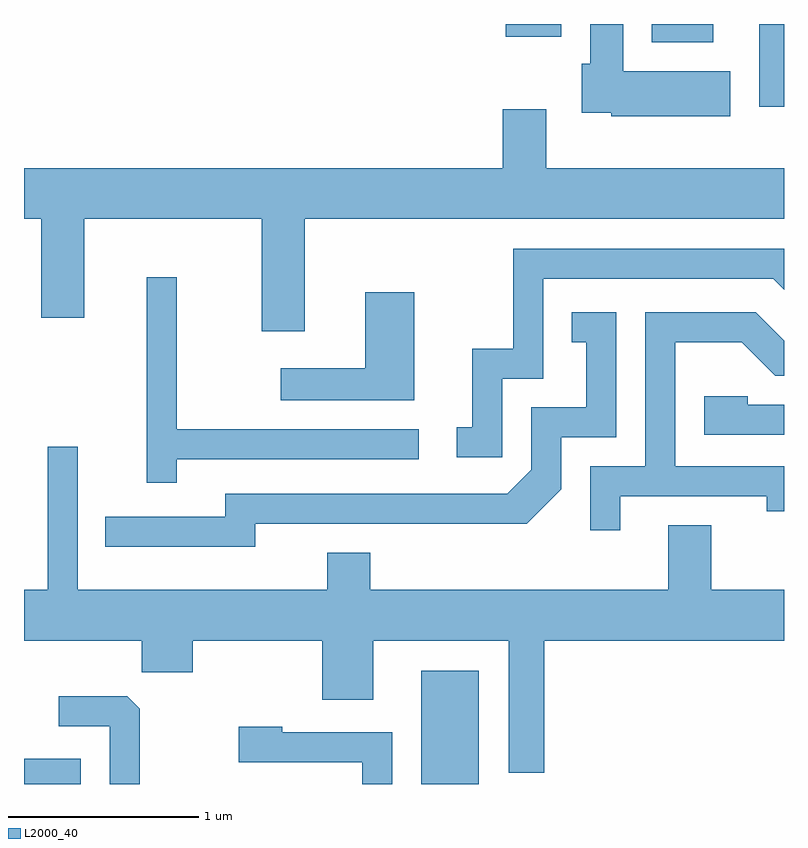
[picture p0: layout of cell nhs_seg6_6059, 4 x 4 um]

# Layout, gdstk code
import gdstk
lib = gdstk.Library(unit=1e-6, precision=1e-09)
def R(c, l, rs):  # rectangles x0, y0, x1, y1
    for r in rs: c.add(gdstk.rectangle(r[:2], r[2:], *l))
def P(c, l, *ps):  # polygons
    for p in ps: c.add(gdstk.Polygon(p, *l))
L2000_40 = (2000, 40)

nhs_seg6_6059 = lib.new_cell('nhs_seg6_6059')
R(nhs_seg6_6059, L2000_40, [(369.611,1558.162,369.909,1558.294), (371.701,1558.162,372.004,1558.759), (373.481,1561.726,373.611,1562.162), (372.916,1562.066,373.239,1562.162), (372.146,1562.096,372.439,1562.162)])
P(nhs_seg6_6059, L2000_40, [(373.329,1561.914),(372.764,1561.914),(372.764,1562.162),(372.591,1562.162),(372.591,1561.954),(372.546,1561.954),(372.546,1561.696),(372.701,1561.696),(372.701,1561.676),(373.329,1561.676)],
  [(371.089,1561.136),(373.611,1561.136),(373.611,1561.404),(372.359,1561.404),(372.359,1561.714),(372.131,1561.714),(372.131,1561.404),(369.611,1561.404),(369.611,1561.136),(369.701,1561.136),(369.701,1560.616),(369.929,1560.616),(369.929,1561.136),(370.861,1561.136),(370.861,1560.546),(371.089,1560.546)],
  [(372.129,1560.296),(372.344,1560.296),(372.344,1560.821),(373.554,1560.821),(373.611,1560.764),(373.611,1560.979),(372.186,1560.979),(372.186,1560.454),(371.971,1560.454),(371.971,1560.039),(371.888,1560.039),(371.888,1559.881),(372.129,1559.881)],
  [(370.414,1559.871),(371.688,1559.871),(371.688,1560.029),(370.414,1560.029),(370.414,1560.828),(370.256,1560.828),(370.256,1559.748),(370.414,1559.748)],
  [(371.664,1560.749),(371.406,1560.749),(371.406,1560.349),(370.963,1560.349),(370.963,1560.181),(371.664,1560.181)],
  [(370.829,1559.531),(372.257,1559.531),(372.439,1559.714),(372.439,1559.986),(372.729,1559.986),(372.729,1560.644),(372.493,1560.644),(372.493,1560.486),(372.571,1560.486),(372.571,1560.144),(372.281,1560.144),(372.281,1559.817),(372.154,1559.689),(370.671,1559.689),(370.671,1559.569),(370.038,1559.569),(370.038,1559.411),(370.829,1559.411)],
  [(372.749,1559.676),(373.521,1559.676),(373.521,1559.598),(373.611,1559.598),(373.611,1559.834),(373.039,1559.834),(373.039,1560.486),(373.389,1560.486),(373.564,1560.311),(373.611,1560.311),(373.611,1560.495),(373.462,1560.644),(372.881,1560.644),(372.881,1559.834),(372.591,1559.834),(372.591,1559.498),(372.749,1559.498)],
  [(373.611,1560.159),(373.419,1560.159),(373.419,1560.204),(373.191,1560.204),(373.191,1560.001),(373.611,1560.001)],
  [(369.736,1559.938),(369.736,1559.184),(369.611,1559.184),(369.611,1558.916),(370.231,1558.916),(370.231,1558.751),(370.499,1558.751),(370.499,1558.916),(371.181,1558.916),(371.181,1558.606),(371.449,1558.606),(371.449,1558.916),(372.161,1558.916),(372.161,1558.221),(372.349,1558.221),(372.349,1558.916),(373.611,1558.916),(373.611,1559.184),(373.229,1559.184),(373.229,1559.524),(373.001,1559.524),(373.001,1559.184),(371.434,1559.184),(371.434,1559.379),(371.206,1559.379),(371.206,1559.184),(369.894,1559.184),(369.894,1559.938)],
  [(370.219,1558.559),(370.154,1558.624),(369.793,1558.624),(369.793,1558.466),(370.061,1558.466),(370.061,1558.162),(370.219,1558.162)],
  [(371.549,1558.434),(370.969,1558.434),(370.969,1558.464),(370.741,1558.464),(370.741,1558.276),(371.391,1558.276),(371.391,1558.162),(371.549,1558.162)])

lib.write_gds('nhs_seg6_6059.gds')
